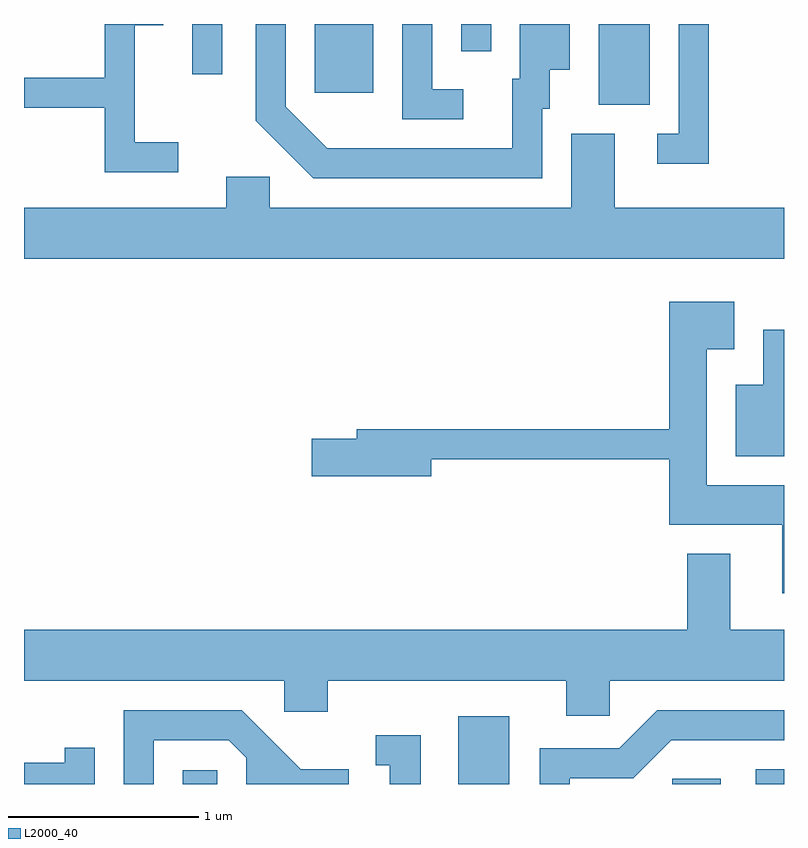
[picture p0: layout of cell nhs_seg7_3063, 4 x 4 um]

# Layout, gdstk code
import gdstk
lib = gdstk.Library(unit=1e-6, precision=1e-09)
def R(c, l, rs):  # rectangles x0, y0, x1, y1
    for r in rs: c.add(gdstk.rectangle(r[:2], r[2:], *l))
def P(c, l, *ps):  # polygons
    for p in ps: c.add(gdstk.Polygon(p, *l))
L2000_40 = (2000, 40)

nhs_seg7_3063 = lib.new_cell('nhs_seg7_3063')
R(nhs_seg7_3063, L2000_40, [(280.446,1678.252,280.629,1678.324), (281.896,1678.252,282.164,1678.609), (283.023,1678.252,283.279,1678.279), (283.461,1678.252,283.611,1678.329), (282.636,1681.826,282.904,1682.252), (281.141,1681.891,281.449,1682.252), (280.496,1681.988,280.654,1682.252), (281.911,1682.108,282.069,1682.252)])
P(nhs_seg7_3063, L2000_40, [(283.214,1682.252),(283.056,1682.252),(283.056,1681.674),(282.943,1681.674),(282.943,1681.516),(283.214,1681.516)],
  [(281.923,1681.909),(281.759,1681.909),(281.759,1682.252),(281.601,1682.252),(281.601,1681.751),(281.923,1681.751)],
  [(282.339,1681.806),(282.379,1681.806),(282.379,1682.011),(282.484,1682.011),(282.484,1682.252),(282.221,1682.252),(282.221,1681.964),(282.181,1681.964),(282.181,1681.599),(281.207,1681.599),(280.989,1681.817),(280.989,1682.252),(280.831,1682.252),(280.831,1681.744),(281.134,1681.441),(282.339,1681.441)],
  [(280.423,1681.629),(280.194,1681.629),(280.194,1682.246),(280.344,1682.246),(280.344,1682.252),(280.036,1682.252),(280.036,1681.969),(279.611,1681.969),(279.611,1681.811),(280.036,1681.811),(280.036,1681.471),(280.423,1681.471)],
  [(283.611,1681.284),(282.719,1681.284),(282.719,1681.674),(282.491,1681.674),(282.491,1681.284),(280.904,1681.284),(280.904,1681.449),(280.676,1681.449),(280.676,1681.284),(279.611,1681.284),(279.611,1681.016),(283.611,1681.016)],
  [(283.611,1679.824),(283.204,1679.824),(283.204,1680.541),(283.349,1680.541),(283.349,1680.789),(283.006,1680.789),(283.006,1680.119),(281.361,1680.119),(281.361,1680.069),(281.126,1680.069),(281.126,1679.871),(281.754,1679.871),(281.754,1679.961),(283.006,1679.961),(283.006,1679.616),(283.601,1679.616),(283.601,1679.256),(283.611,1679.256)],
  [(283.611,1680.644),(283.501,1680.644),(283.501,1680.354),(283.356,1680.354),(283.356,1679.976),(283.611,1679.976)],
  [(282.694,1678.796),(283.611,1678.796),(283.611,1679.064),(283.329,1679.064),(283.329,1679.464),(283.101,1679.464),(283.101,1679.064),(279.611,1679.064),(279.611,1678.796),(280.981,1678.796),(280.981,1678.631),(281.209,1678.631),(281.209,1678.796),(282.466,1678.796),(282.466,1678.611),(282.694,1678.611)],
  [(282.484,1678.281),(282.817,1678.281),(283.017,1678.481),(283.611,1678.481),(283.611,1678.639),(282.944,1678.639),(282.744,1678.439),(282.326,1678.439),(282.326,1678.252),(282.484,1678.252)],
  [(280.294,1678.481),(280.689,1678.481),(280.781,1678.389),(280.781,1678.252),(281.319,1678.252),(281.319,1678.329),(281.067,1678.329),(280.757,1678.639),(280.136,1678.639),(280.136,1678.252),(280.294,1678.252)],
  [(281.699,1678.509),(281.463,1678.509),(281.463,1678.351),(281.536,1678.351),(281.536,1678.252),(281.699,1678.252)],
  [(279.984,1678.443),(279.826,1678.443),(279.826,1678.364),(279.611,1678.364),(279.611,1678.252),(279.984,1678.252)])

lib.write_gds('nhs_seg7_3063.gds')
